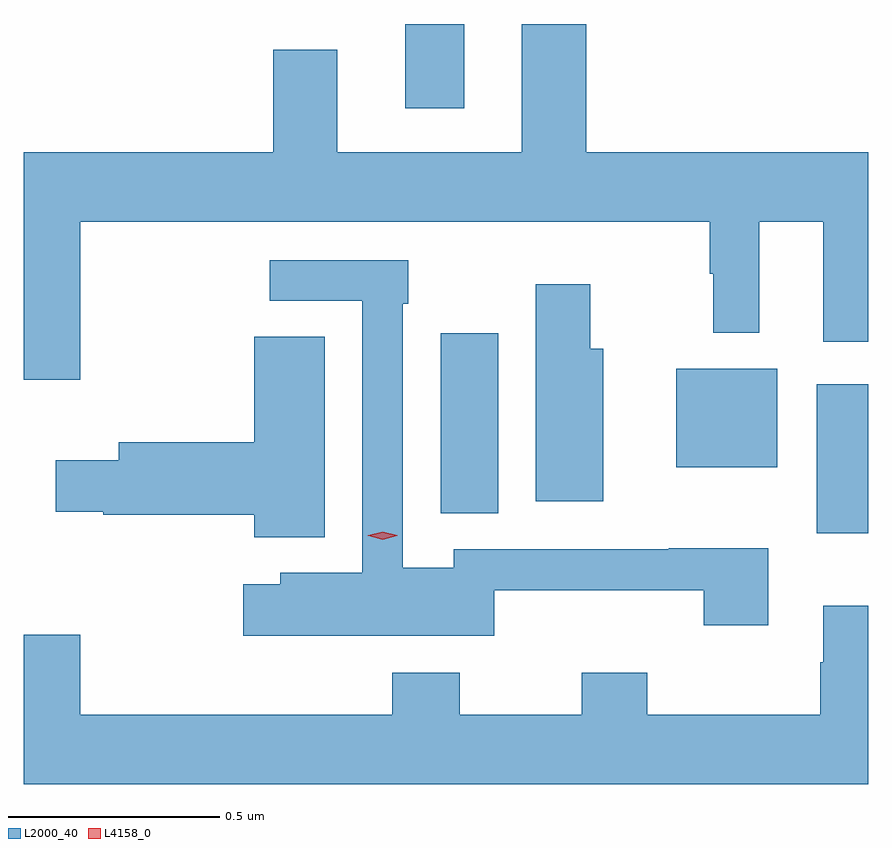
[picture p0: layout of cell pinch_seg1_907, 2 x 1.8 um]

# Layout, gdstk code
import gdstk
lib = gdstk.Library(unit=1e-6, precision=1e-09)
def R(c, l, rs):  # rectangles x0, y0, x1, y1
    for r in rs: c.add(gdstk.rectangle(r[:2], r[2:], *l))
def P(c, l, *ps):  # polygons
    for p in ps: c.add(gdstk.Polygon(p, *l))
L2000_40 = (2000, 40)
L4158_0 = (4158, 0)

pinch_seg1_907 = lib.new_cell('pinch_seg1_907')
R(pinch_seg1_907, L2000_40, [(538.544,527.018,538.666,527.371), (537.653,527.065,537.79,527.491), (538.211,527.174,538.45,527.407), (537.569,528.024,537.709,528.224)])
P(pinch_seg1_907, L2000_40, [(537.845,528.224),(537.845,527.92),(537.409,527.92),(537.409,528.163),(537.257,528.163),(537.257,527.92),(536.666,527.92),(536.666,527.382),(536.8,527.382),(536.8,527.756),(538.291,527.756),(538.291,527.633),(538.299,527.633),(538.299,527.493),(538.408,527.493),(538.408,527.756),(538.559,527.756),(538.559,527.472),(538.666,527.472),(538.666,527.92),(537.998,527.92),(537.998,528.224)],
  [(537.78,526.883),(538.277,526.883),(538.277,526.8),(538.429,526.8),(538.429,526.982),(538.193,526.982),(538.193,526.98),(537.684,526.98),(537.684,526.936),(537.564,526.936),(537.564,527.561),(537.577,527.561),(537.577,527.664),(537.249,527.664),(537.249,527.568),(537.468,527.568),(537.468,526.924),(537.273,526.924),(537.273,526.897),(537.186,526.897),(537.186,526.775),(537.78,526.775)],
  [(538.039,527.455),(538.008,527.455),(538.008,527.608),(537.878,527.608),(537.878,527.094),(538.039,527.094)],
  [(537.379,527.483),(537.212,527.483),(537.212,527.234),(536.891,527.234),(536.891,527.191),(536.742,527.191),(536.742,527.069),(536.854,527.069),(536.854,527.062),(537.212,527.062),(537.212,527.009),(537.379,527.009)],
  [(538.666,526.846),(538.559,526.846),(538.559,526.712),(538.552,526.712),(538.552,526.588),(538.143,526.588),(538.143,526.687),(537.988,526.687),(537.988,526.588),(537.699,526.588),(537.699,526.687),(537.539,526.687),(537.539,526.588),(536.8,526.588),(536.8,526.777),(536.666,526.777),(536.666,526.424),(538.666,526.424)])
P(pinch_seg1_907, L4158_0, [(537.516,527.002),(537.482,527.012),(537.481,527.012),(537.482,527.013),(537.516,527.022),(537.55,527.013),(537.55,527.012),(537.55,527.012)])

lib.write_gds('pinch_seg1_907.gds')
